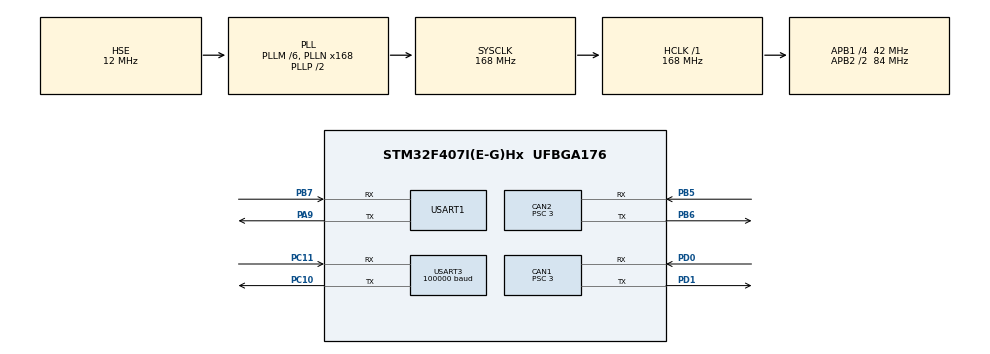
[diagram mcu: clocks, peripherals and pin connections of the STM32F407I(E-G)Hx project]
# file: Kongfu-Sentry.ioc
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CAN1.ABOM=ENABLE
CAN1.BS1=CAN_BS1_10TQ
CAN1.BS2=CAN_BS2_3TQ
CAN1.CalculateBaudRate=1000000
CAN1.CalculateTimeBit=1000
CAN1.CalculateTimeQuantum=71.42857142857143
CAN1.Prescaler=3
CAN2.BS1=CAN_BS1_10TQ
CAN2.BS2=CAN_BS2_3TQ
CAN2.CalculateBaudRate=1000000
CAN2.CalculateTimeBit=1000
CAN2.CalculateTimeQuantum=71.42857142857143
CAN2.Prescaler=3
Dma.Request0=USART3_RX
Dma.Request1=USART1_TX
Dma.Request2=USART1_RX
Dma.USART1_RX.2.Direction=DMA_PERIPH_TO_MEMORY
Dma.USART1_RX.2.FIFOMode=DMA_FIFOMODE_DISABLE
Dma.USART1_RX.2.Instance=DMA2_Stream2
Dma.USART1_RX.2.MemDataAlignment=DMA_MDATAALIGN_BYTE
Dma.USART1_RX.2.MemInc=DMA_MINC_ENABLE
Dma.USART1_RX.2.Mode=DMA_NORMAL
Dma.USART1_RX.2.PeriphDataAlignment=DMA_PDATAALIGN_BYTE
Dma.USART1_RX.2.PeriphInc=DMA_PINC_DISABLE
Dma.USART1_RX.2.Priority=DMA_PRIORITY_LOW
Dma.USART1_TX.1.Direction=DMA_MEMORY_TO_PERIPH
Dma.USART1_TX.1.FIFOMode=DMA_FIFOMODE_DISABLE
Dma.USART1_TX.1.Instance=DMA2_Stream7
Dma.USART1_TX.1.MemDataAlignment=DMA_MDATAALIGN_BYTE
Dma.USART1_TX.1.MemInc=DMA_MINC_ENABLE
Dma.USART1_TX.1.Mode=DMA_NORMAL
Dma.USART1_TX.1.PeriphDataAlignment=DMA_PDATAALIGN_BYTE
Dma.USART1_TX.1.PeriphInc=DMA_PINC_DISABLE
Dma.USART1_TX.1.Priority=DMA_PRIORITY_LOW
Dma.USART3_RX.0.Direction=DMA_PERIPH_TO_MEMORY
Dma.USART3_RX.0.FIFOMode=DMA_FIFOMODE_DISABLE
Dma.USART3_RX.0.Instance=DMA1_Stream1
Dma.USART3_RX.0.MemDataAlignment=DMA_MDATAALIGN_BYTE
Dma.USART3_RX.0.MemInc=DMA_MINC_ENABLE
Dma.USART3_RX.0.Mode=DMA_NORMAL
Dma.USART3_RX.0.PeriphDataAlignment=DMA_PDATAALIGN_BYTE
Dma.USART3_RX.0.PeriphInc=DMA_PINC_DISABLE
Dma.USART3_RX.0.Priority=DMA_PRIORITY_HIGH
Mcu.Family=STM32F4
Mcu.Name=STM32F407I(E-G)Hx
Mcu.Package=UFBGA176
NVIC.CAN1_RX0_IRQn=true\:0\:0\:false\:false\:true\:true\:true\:true
NVIC.DMA1_Stream1_IRQn=true\:0\:0\:false\:false\:true\:false\:true\:true
NVIC.DMA2_Stream2_IRQn=true\:0\:0\:false\:false\:true\:false\:true\:true
NVIC.DMA2_Stream7_IRQn=true\:0\:0\:false\:false\:true\:false\:true\:true
NVIC.PriorityGroup=NVIC_PRIORITYGROUP_4
NVIC.USART1_IRQn=true\:0\:0\:false\:false\:true\:false\:true\:true
NVIC.USART3_IRQn=true\:0\:0\:false\:false\:true\:true\:true\:true
PA13.Mode=Serial_Wire
PA13.Signal=SYS_JTMS-SWDIO
PA14.Mode=Serial_Wire
PA14.Signal=SYS_JTCK-SWCLK
PA9.Mode=Asynchronous
PA9.Signal=USART1_TX
PB5.Mode=CAN_Activate
PB5.Signal=CAN2_RX
PB6.Mode=CAN_Activate
PB6.Signal=CAN2_TX
PB7.Mode=Asynchronous
PB7.Signal=USART1_RX
PC10.Mode=Asynchronous
PC10.Signal=USART3_TX
PC11.Mode=Asynchronous
PC11.Signal=USART3_RX
PD0.Mode=CAN_Activate
PD0.Signal=CAN1_RX
PD1.Mode=CAN_Activate
PD1.Signal=CAN1_TX
PH0-OSC_IN.Mode=HSE-External-Oscillator
PH0-OSC_IN.Signal=RCC_OSC_IN
PH1-OSC_OUT.Mode=HSE-External-Oscillator
PH1-OSC_OUT.Signal=RCC_OSC_OUT
ProjectManager.HeapSize=0x200
ProjectManager.StackSize=0x400
ProjectManager.TargetToolchain=MDK-ARM V5.32
RCC.48MHZClocksFreq_Value=84000000
RCC.AHBFreq_Value=168000000
RCC.APB1CLKDivider=RCC_HCLK_DIV4
RCC.APB1Freq_Value=42000000
RCC.APB1TimFreq_Value=84000000
RCC.APB2CLKDivider=RCC_HCLK_DIV2
RCC.APB2Freq_Value=84000000
RCC.APB2TimFreq_Value=168000000
RCC.CortexFreq_Value=168000000
RCC.HCLKFreq_Value=168000000
RCC.HSE_VALUE=12000000
RCC.HSI_VALUE=16000000
RCC.LSE_VALUE=32768
RCC.PLLM=6
RCC.PLLN=168
RCC.PLLSourceVirtual=RCC_PLLSOURCE_HSE
RCC.SYSCLKFreq_VALUE=168000000
RCC.SYSCLKSource=RCC_SYSCLKSOURCE_PLLCLK
RCC.VCOOutputFreq_Value=336000000
USART1.VirtualMode=VM_ASYNC
USART3.BaudRate=100000
USART3.Parity=PARITY_EVEN
USART3.StopBits=STOPBITS_2
USART3.VirtualMode=VM_ASYNC
USART3.WordLength=WORDLENGTH_9B
board=custom

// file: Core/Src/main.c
/* USER CODE BEGIN Header */
/**
  ******************************************************************************
  * @file           : main.c
  * @brief          : Main program body
  ******************************************************************************
  * @attention
  *
  * Copyright (c) 2024 STMicroelectronics.
  * All rights reserved.
  *
  * This software is licensed under terms that can be found in the LICENSE file
  * in the root directory of this software component.
  * If no LICENSE file comes with this software, it is provided AS-IS.
  *
  ******************************************************************************
  */
/* USER CODE END Header */
#include "main.h"
#include "can.h"
#include "dma.h"
#include "usart.h"
#include "gpio.h"

/* USER CODE BEGIN Includes */
#include "bsp_can.h"
#include "1_Middleware/1_Driver/CAN/drv_CAN_receive.h"
#include "1_Middleware/1_Driver/UART/drv_uart.h"
#include "2_Device/Serialplot/dvc_serialplot.h"
#include "1_Middleware/1_Driver/BSP/drv_bsp.h"
#include "1_Middleware/2_Algorithm/PID/alg_pid.h"

#include "2_Device/Remote_Control/remote_control.h"
#include "2_Device/Motor/dvc_motor.h"
#include "bsp_usart.h"
#include <stdio.h>
#include <stdarg.h>
#include "string.h"
/* USER CODE END Includes */

/* USER CODE BEGIN PV */
//uint8_t hello[5] = "hello";
extern uint8_t sbus_rx_buf[2][SBUS_RX_BUF_NUM];
Class_Serialplot serialplot;
Class_PID pid_omega;
Class_PID pid_omega_1;
Class_PID pid_omega_2;
Class_PID pid_omega_3;

// PID 角度环控制
Class_PID PID_Angle;
// PID 速度环控制
Class_PID PID_Omega;
// PID电流环控制
Class_PID PID_Current;

Class_Motor_GM6020 Motor_Yaw;

float Rx_Omega[4];
float Rx_Torque[4];
float Rx_Encoder[4];
float Rx_Temperature[4];

float Now_Omega_0, Target_Omega_0;
float Now_Omega_1, Target_Omega_1;
float Now_Omega_2, Target_Omega_2;
float Now_Omega_3, Target_Omega_3;
float Now_Angle, Target_Angle;

float Target_Omega_c0, Target_Omega_c1, Target_Omega_c2, Target_Omega_c3;
float vx_set, vy_set, omega_set;
uint32_t Counter = 0;
int32_t Output_val_0, Output_val_1, Output_val_2,Output_val_3;
float test_val = 0;
float Right_X, Right_Y, Left_X, Left_Y;
//摇杆偏移量
float Rocker_Offset = 1011.0f;
//摇杆总刻度
float Rocker_Num = 783.5f;
//地盘最大速度
float velocity_x_max = 10;
float velocity_y_max = 10;
float omega_max = 0.07;
float r_wheel_to_core = 228.73f;

extern float Current_To_Out;

const motor_measure_t *gimbal_motor_measure;

int16_t delta_encoder;

uint16_t Encoder_Num_Per_Round = 8192;

int32_t Encoder_Offset = -2740;

//static char Variable_Assignment_List[][SERIALPLOT_RX_VARIABLE_ASSIGNMENT_MAX_LENGTH] = {
//  // ������PID
//  "po",
//  "io",
//  "do",
//	"po1",
//  "io1",
//  "do1",
//	"po2",
//  "io2",
//  "do2",
//	"po3",
//  "io3",
//  "do3",
//};

static char Variable_Assignment_List[][SERIALPLOT_RX_VARIABLE_ASSIGNMENT_MAX_LENGTH] = {
  // ������PID
  "po",

	"po1",

	"po2",

	"po3",

};
/* USER CODE END PV */

void SystemClock_Config(void);

/* USER CODE BEGIN 0 */
const RC_ctrl_t *local_rc_ctrl;

void usart_printf(const char *fmt,...)
{
    static uint8_t tx_buf[256] = {0};
    static va_list ap;
    static uint16_t len;
    va_start(ap, fmt);

    //return length of string
    //?????????????
    len = vsprintf((char *)tx_buf, fmt, ap);

    va_end(ap);

		HAL_UART_Transmit_DMA(&huart1, tx_buf, len);

}

void UART_Serialplot_Call_Back(uint8_t *Buffer, uint16_t Length)
{
  serialplot.UART_RxCpltCallback(Buffer);
  switch (serialplot.Get_Variable_Index())
  {
    //�����PID
    case(0):
    {
      PID_Omega.Set_K_P(serialplot.Get_Variable_Value());
    }
    break;
		case(1):
    {
      pid_omega_1.Set_K_P(serialplot.Get_Variable_Value());
    }
    break;
		case(2):
    {
      pid_omega_2.Set_K_P(serialplot.Get_Variable_Value());
    }
    break;
		case(3):
    {
      pid_omega_3.Set_K_P(serialplot.Get_Variable_Value());
    }
    break;
  }

}

/* USER CODE END 0 */

int main(void)
{

  /* MCU Configuration--------------------------------------------------------*/

  /* Reset of all peripherals, Initializes the Flash interface and the Systick. */
  HAL_Init();

  /* Configure the system clock */
  SystemClock_Config();

  /* Initialize all configured peripherals */
  MX_GPIO_Init();
  MX_DMA_Init();
  MX_USART1_UART_Init();
  MX_USART3_UART_Init();
  MX_CAN1_Init();
  MX_CAN2_Init();
  /* USER CODE BEGIN 2 */
	  can_filter_init();
		UART_Init(&huart1, UART_Serialplot_Call_Back, SERIALPLOT_RX_VARIABLE_ASSIGNMENT_MAX_LENGTH);
    PID_Omega.Init(0.03f, 0.3f, 0.0f, 0.0f, 3.0f, 3.0f);

		serialplot.Init(&huart1, 12, (char **)Variable_Assignment_List);

		remote_control_init();
    usart1_tx_dma_init();
		local_rc_ctrl = get_remote_control_point();

		// 电机初始化
		Motor_Yaw.Init(&hcan1, Motor_DJI_Control_Method_ANGLE, 25000 ,16384);
		// PID初始化
    Motor_Yaw.PID_Angle.Init(7.0f, 0.0f, 0.0f, 0.0f, 2.0f * PI, 2.0f * PI);
    Motor_Yaw.PID_Omega.Init(0.366f, 0.916f, 0.0f, 0.0f, 3.0f, 3.0f);
  /* USER CODE END 2 */

  /* Infinite loop */
  while (1)
  {

    /* USER CODE BEGIN 3 */
		Counter++;
		Target_Omega_0 = 10 * sin(6.0f * Counter / 1000.0f);
//		Motor_Yaw.Target_Omega = Target_Omega_0;
//		Motor_Yaw.Set_Target_Angle(PI * sin(2.0f * Counter / 1000.0f));
		Motor_Yaw.Set_Target_Angle(0);
			/*读取云台电机数据*/
		gimbal_motor_measure = get_yaw_gimbal_motor_measure_point();
//		Now_Omega_0 = gimbal_motor_measure->speed_rpm * 2.0f * PI / 60.0f;
//		Motor_Yaw.Rx_Data.Now_Omega = Now_Omega_0;
		delta_encoder = gimbal_motor_measure->ecd - gimbal_motor_measure->last_ecd;
    if (delta_encoder < -Encoder_Num_Per_Round / 2)
    {
        // 正方向转过了一圈
        Motor_Yaw.Rx_Data.Total_Round++;
    }
    else if (delta_encoder > Encoder_Num_Per_Round / 2)
    {
        // 反方向转过了一圈
        Motor_Yaw.Rx_Data.Total_Round--;
    }
		Motor_Yaw.Rx_Data.Total_Encoder = Motor_Yaw.Rx_Data.Total_Round * Encoder_Num_Per_Round + gimbal_motor_measure->ecd + Encoder_Offset;
		Motor_Yaw.Rx_Data.Now_Angle = (float) Motor_Yaw.Rx_Data.Total_Encoder / (float) Encoder_Num_Per_Round * 2.0f * PI;

		/*计算输入电流值（PID）*/
		Motor_Yaw.PID_Calculate();

		/*输出电流*/
		Output_val_0 = Motor_Yaw.Out;

//
		/*画出目标角度和电机转速*/
		serialplot.Set_Data(3, &Motor_Yaw.Rx_Data.Now_Angle, &Motor_Yaw.Target_Angle, &Output_val_0);
		serialplot.TIM_Write_PeriodElapsedCallback();
		TIM_UART_PeriodElapsedCallback();

		CAN_cmd_gimbal(0, 0, 5000, 0);
		HAL_Delay(1);
  }
  /* USER CODE END 3 */
}

void SystemClock_Config(void)
{
  RCC_OscInitTypeDef RCC_OscInitStruct = {0};
  RCC_ClkInitTypeDef RCC_ClkInitStruct = {0};

  /** Configure the main internal regulator output voltage
  */
  __HAL_RCC_PWR_CLK_ENABLE();
  __HAL_PWR_VOLTAGESCALING_CONFIG(PWR_REGULATOR_VOLTAGE_SCALE1);

  /** Initializes the RCC Oscillators according to the specified parameters
  * in the RCC_OscInitTypeDef structure.
  */
  RCC_OscInitStruct.OscillatorType = RCC_OSCILLATORTYPE_HSE;
  RCC_OscInitStruct.HSEState = RCC_HSE_ON;
  RCC_OscInitStruct.PLL.PLLState = RCC_PLL_ON;
  RCC_OscInitStruct.PLL.PLLSource = RCC_PLLSOURCE_HSE;
  RCC_OscInitStruct.PLL.PLLM = 6;
  RCC_OscInitStruct.PLL.PLLN = 168;
  RCC_OscInitStruct.PLL.PLLP = RCC_PLLP_DIV2;
  RCC_OscInitStruct.PLL.PLLQ = 4;
  if (HAL_RCC_OscConfig(&RCC_OscInitStruct) != HAL_OK)
  {
    Error_Handler();
  }

  /** Initializes the CPU, AHB and APB buses clocks
  */
  RCC_ClkInitStruct.ClockType = RCC_CLOCKTYPE_HCLK|RCC_CLOCKTYPE_SYSCLK
                              |RCC_CLOCKTYPE_PCLK1|RCC_CLOCKTYPE_PCLK2;
  RCC_ClkInitStruct.SYSCLKSource = RCC_SYSCLKSOURCE_PLLCLK;
  RCC_ClkInitStruct.AHBCLKDivider = RCC_SYSCLK_DIV1;
  RCC_ClkInitStruct.APB1CLKDivider = RCC_HCLK_DIV4;
  RCC_ClkInitStruct.APB2CLKDivider = RCC_HCLK_DIV2;

  if (HAL_RCC_ClockConfig(&RCC_ClkInitStruct, FLASH_LATENCY_5) != HAL_OK)
  {
    Error_Handler();
  }
}

void Error_Handler(void)
{
  __disable_irq();
  while (1)
  {
  }
}
